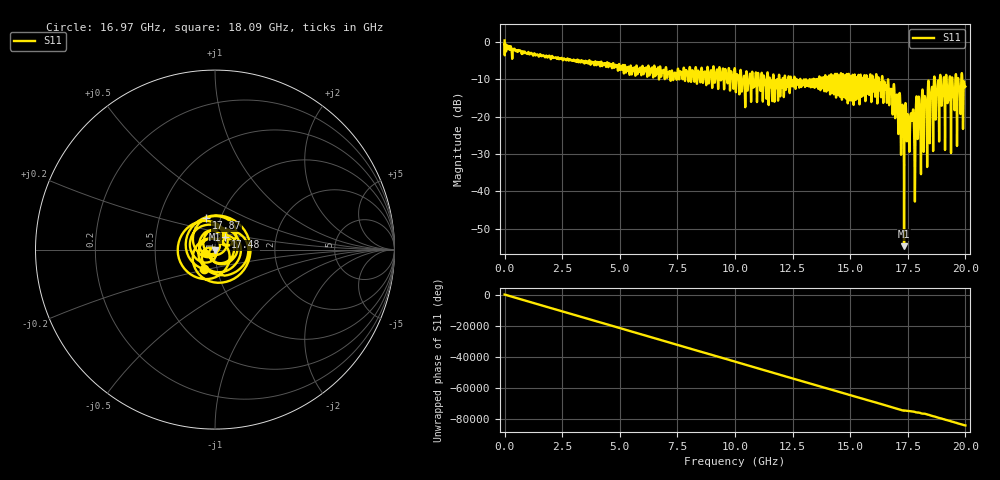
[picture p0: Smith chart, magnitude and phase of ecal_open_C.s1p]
! MS46122B
! 2250307/22442219
! 7/23/2025 1:05:03 PM
! C:\USERS\SPARKY\DOCUMENTS\VNA_DATA\JULY23_2025\295K\ECAL_OPEN_C.S1P
! CHANNEL.1
! TR.MEASUREMENT
! RAW.DATA
# GHZ S RI R 50.0
! FREQ.GHZ  S11RE  S11IM
!; PortSelection: Port_1
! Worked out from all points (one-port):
!   10001 points, 1 MHz to 20 GHz, reference 50 ohm
!   lowest |S11| = -54.6 dB at 17.34 GHz (marker M1), VSWR 1.00, Z = 49.9 - j0.125 ohm
!   |S11| at or under -10 dB: 12.84 GHz to 13.08 GHz (240.4 MHz wide, 1.85 % of centre); 16.4 GHz to 16.64 GHz (238.7 MHz wide, 1.44 % of centre); 16.64 GHz to 18.64 GHz (1.994 GHz wide, 11.3 % of centre) (the widest 3 of 91)
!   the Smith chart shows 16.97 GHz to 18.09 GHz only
!   S11 on the Smith chart (normalised r, x): 16.97 GHz: 0.87, -0.19; 17.48 GHz: 1.10, +0.15; 17.87 GHz: 0.85, +0.31; 18.09 GHz: 0.88, -0.03
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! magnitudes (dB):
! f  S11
! 1 MHz  0.4
! 2.501 GHz  -4.5
! 5.001 GHz  -7.0
! 7.501 GHz  -8.0
! 10 GHz  -7.4
! 11.54 GHz  -12.1
! 12.5 GHz  -10.3
! 15 GHz  -11.3
! 16.31 GHz  -11.1
! 16.97 GHz  -18.1
! 17.21 GHz  -26.9
! 17.27 GHz  -16.9
! 17.34 GHz  -54.6
! 17.48 GHz  -21.1
! 17.5 GHz  -19.3
! 17.68 GHz  -21.0
! 17.74 GHz  -18.3
! 17.87 GHz  -14.8
! 17.93 GHz  -23.7
! 18 GHz  -16.0
! 18.09 GHz  -23.8
! 18.73 GHz  -15.7
! 18.78 GHz  -12.6
! 19.25 GHz  -15.4
! 19.45 GHz  -12.3
! 19.51 GHz  -15.0
! 19.71 GHz  -12.1
! 20 GHz  -11.9
